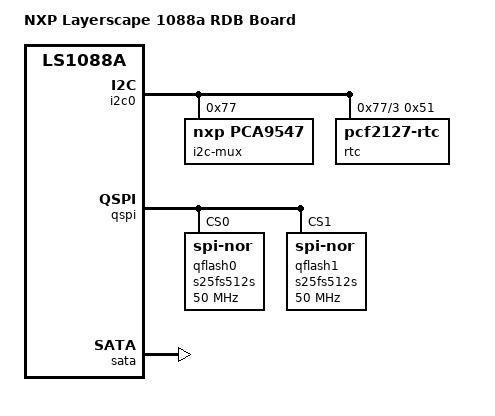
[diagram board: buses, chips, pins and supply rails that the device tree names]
// SPDX-License-Identifier: GPL-2.0+ OR X11
/*
 * NXP ls1088a RDB board device tree source
 *
 * Copyright 2017 NXP
 */

/dts-v1/;

#include "fsl-ls1088a.dtsi"

/ {
	model = "NXP Layerscape 1088a RDB Board";
	compatible = "fsl,ls1088a-rdb", "fsl,ls1088a";
	aliases {
		spi0 = &qspi;
	};
};

&i2c0 {
	status = "okay";
	u-boot,dm-pre-reloc;

	i2c-mux@77 {
		compatible = "nxp,pca9547";
		reg = <0x77>;
		#address-cells = <1>;
		#size-cells = <0>;

		i2c@3 {
			#address-cells = <1>;
			#size-cells = <0>;
			reg = <0x3>;

			rtc@51 {
				compatible = "pcf2127-rtc";
				reg = <0x51>;
			};
		};
	};
};

&qspi {
	bus-num = <0>;
	status = "okay";

	qflash0: s25fs512s@0 {
		#address-cells = <1>;
		#size-cells = <1>;
		compatible = "jedec,spi-nor";
		spi-max-frequency = <50000000>;
		reg = <0>;
	};

	qflash1: s25fs512s@1 {
		#address-cells = <1>;
		#size-cells = <1>;
		compatible = "jedec,spi-nor";
		spi-max-frequency = <50000000>;
		reg = <1>;
	 };
};

&sata {
	status = "okay";
};
